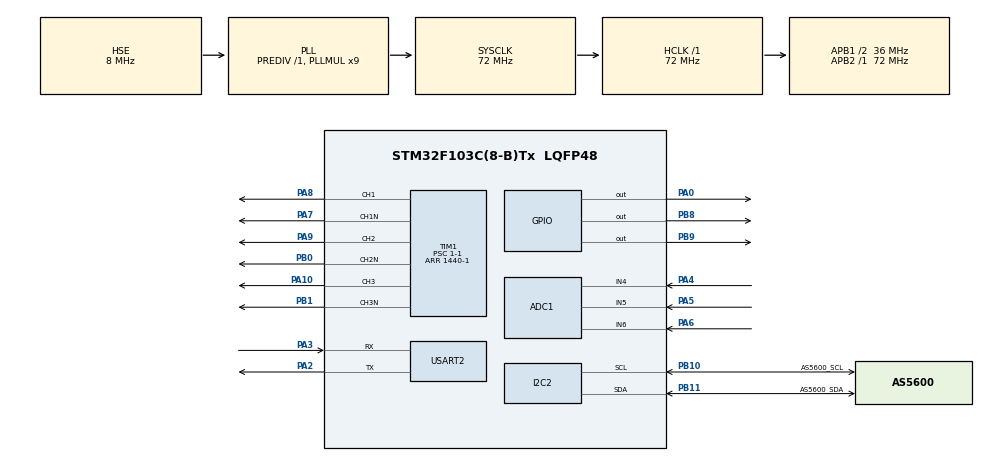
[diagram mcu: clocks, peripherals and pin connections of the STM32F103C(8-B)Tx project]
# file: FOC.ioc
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ADC1.Channel-52\#ChannelInjectedConversion=ADC_CHANNEL_4
ADC1.Channel-53\#ChannelInjectedConversion=ADC_CHANNEL_5
ADC1.Channel-54\#ChannelInjectedConversion=ADC_CHANNEL_6
ADC1.ContinuousConvMode=ENABLE
ADC1.EnableInjectedConversion=ENABLE
ADC1.EnableRegularConversion=DISABLE
ADC1.ExternalTrigInjecConv=ADC_EXTERNALTRIGINJECCONV_T1_CC4
ADC1.InjNumberOfConversion=3
ADC1.InjectedOffset-52\#ChannelInjectedConversion=0
ADC1.InjectedOffset-53\#ChannelInjectedConversion=0
ADC1.InjectedOffset-54\#ChannelInjectedConversion=0
ADC1.InjectedRank-52\#ChannelInjectedConversion=1
ADC1.InjectedRank-53\#ChannelInjectedConversion=2
ADC1.InjectedRank-54\#ChannelInjectedConversion=3
ADC1.SamplingTime-52\#ChannelInjectedConversion=ADC_SAMPLETIME_1CYCLE_5
ADC1.SamplingTime-53\#ChannelInjectedConversion=ADC_SAMPLETIME_1CYCLE_5
ADC1.SamplingTime-54\#ChannelInjectedConversion=ADC_SAMPLETIME_1CYCLE_5
ADC1.master=1
Mcu.Family=STM32F1
Mcu.Name=STM32F103C(8-B)Tx
Mcu.Package=LQFP48
NVIC.ADC1_2_IRQn=true\:1\:0\:true\:false\:true\:true\:true\:true
NVIC.I2C2_ER_IRQn=true\:0\:0\:false\:false\:true\:true\:true\:true
NVIC.I2C2_EV_IRQn=true\:0\:0\:false\:false\:true\:true\:true\:true
NVIC.PriorityGroup=NVIC_PRIORITYGROUP_4
PA0-WKUP.Signal=GPIO_Output
PA10.Signal=S_TIM1_CH3
PA13.Mode=Serial_Wire
PA13.Signal=SYS_JTMS-SWDIO
PA14.Mode=Serial_Wire
PA14.Signal=SYS_JTCK-SWCLK
PA2.Mode=Asynchronous
PA2.Signal=USART2_TX
PA3.Mode=Asynchronous
PA3.Signal=USART2_RX
PA4.Signal=ADCx_IN4
PA5.Signal=ADCx_IN5
PA6.Signal=ADCx_IN6
PA7.Mode=PWM Generation1 CH1 CH1N
PA7.Signal=TIM1_CH1N
PA8.Signal=S_TIM1_CH1
PA9.Signal=S_TIM1_CH2
PB0.Mode=PWM Generation2 CH2 CH2N
PB0.Signal=TIM1_CH2N
PB1.Mode=PWM Generation3 CH3 CH3N
PB1.Signal=TIM1_CH3N
PB10.GPIO_Label=AS5600_SCL
PB10.Mode=I2C
PB10.Signal=I2C2_SCL
PB11.GPIO_Label=AS5600_SDA
PB11.Mode=I2C
PB11.Signal=I2C2_SDA
PB8.GPIO_ModeDefaultOutputPP=GPIO_MODE_OUTPUT_OD
PB8.GPIO_PuPd=GPIO_NOPULL
PB8.Signal=GPIO_Output
PB9.GPIO_ModeDefaultOutputPP=GPIO_MODE_OUTPUT_OD
PB9.GPIO_PuPd=GPIO_NOPULL
PB9.Signal=GPIO_Output
PC14-OSC32_IN.Mode=LSE-External-Oscillator
PC14-OSC32_IN.Signal=RCC_OSC32_IN
PC15-OSC32_OUT.Mode=LSE-External-Oscillator
PC15-OSC32_OUT.Signal=RCC_OSC32_OUT
PD0-OSC_IN.Mode=HSE-External-Oscillator
PD0-OSC_IN.Signal=RCC_OSC_IN
PD1-OSC_OUT.Mode=HSE-External-Oscillator
PD1-OSC_OUT.Signal=RCC_OSC_OUT
ProjectManager.HeapSize=0x200
ProjectManager.StackSize=0x400
ProjectManager.TargetToolchain=MDK-ARM V5.32
RCC.ADCPresc=RCC_ADCPCLK2_DIV6
RCC.AHBFreq_Value=72000000
RCC.APB1CLKDivider=RCC_HCLK_DIV2
RCC.APB1Freq_Value=36000000
RCC.APB1TimFreq_Value=72000000
RCC.APB2Freq_Value=72000000
RCC.APB2TimFreq_Value=72000000
RCC.HCLKFreq_Value=72000000
RCC.PLLMUL=RCC_PLL_MUL9
RCC.PLLSourceVirtual=RCC_PLLSOURCE_HSE
RCC.SYSCLKFreq_VALUE=72000000
RCC.SYSCLKSource=RCC_SYSCLKSOURCE_PLLCLK
RCC.USBFreq_Value=72000000
SH.ADCx_IN4.0=ADC1_IN4,IN4
SH.ADCx_IN5.0=ADC1_IN5,IN5
SH.ADCx_IN6.0=ADC1_IN6,IN6
SH.S_TIM1_CH1.0=TIM1_CH1,PWM Generation1 CH1 CH1N
SH.S_TIM1_CH2.0=TIM1_CH2,PWM Generation2 CH2 CH2N
SH.S_TIM1_CH3.0=TIM1_CH3,PWM Generation3 CH3 CH3N
TIM1.AutoReloadPreload=TIM_AUTORELOAD_PRELOAD_ENABLE
TIM1.AutomaticOutput=TIM_AUTOMATICOUTPUT_ENABLE
TIM1.BreakState=TIM_BREAK_DISABLE
TIM1.Channel-PWM\ Generation1\ CH1\ CH1N=TIM_CHANNEL_1
TIM1.Channel-PWM\ Generation2\ CH2\ CH2N=TIM_CHANNEL_2
TIM1.Channel-PWM\ Generation3\ CH3\ CH3N=TIM_CHANNEL_3
TIM1.Channel-PWM\ Generation4\ No\ Output=TIM_CHANNEL_4
TIM1.CounterMode=TIM_COUNTERMODE_CENTERALIGNED1
TIM1.DeadTime=150
TIM1.LockLevel=TIM_LOCKLEVEL_1
TIM1.OCMode_PWM-PWM\ Generation1\ CH1\ CH1N=TIM_OCMODE_PWM1
TIM1.OCMode_PWM-PWM\ Generation2\ CH2\ CH2N=TIM_OCMODE_PWM1
TIM1.OCMode_PWM-PWM\ Generation3\ CH3\ CH3N=TIM_OCMODE_PWM1
TIM1.OCMode_PWM-PWM\ Generation4\ No\ Output=TIM_OCMODE_PWM2
TIM1.OffStateIDLEMode=TIM_OSSI_ENABLE
TIM1.OffStateRunMode=TIM_OSSR_ENABLE
TIM1.Period=1440-1
TIM1.Prescaler=1-1
TIM1.Pulse-PWM\ Generation1\ CH1\ CH1N=720
TIM1.Pulse-PWM\ Generation2\ CH2\ CH2N=720
TIM1.Pulse-PWM\ Generation3\ CH3\ CH3N=720
TIM1.Pulse-PWM\ Generation4\ No\ Output=720
TIM1.TIM_MasterOutputTrigger=TIM_TRGO_OC4REF
TIM1.TIM_MasterSlaveMode=TIM_MASTERSLAVEMODE_DISABLE
USART2.VirtualMode=VM_ASYNC
VP_TIM1_VS_ClockSourceINT.Mode=Internal
VP_TIM1_VS_no_output4.Mode=PWM Generation4 No Output
board=custom

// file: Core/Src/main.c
/* USER CODE BEGIN Header */
/**
  ******************************************************************************
  * @file           : main.c
  * @brief          : Main program body
  ******************************************************************************
  * @attention
  *
  * Copyright (c) 2025 STMicroelectronics.
  * All rights reserved.
  *
  * This software is licensed under terms that can be found in the LICENSE file
  * in the root directory of this software component.
  * If no LICENSE file comes with this software, it is provided AS-IS.
  *
  ******************************************************************************
  */
/* USER CODE END Header */
#include "main.h"
#include "adc.h"
#include "i2c.h"
#include "tim.h"
#include "usart.h"
#include "gpio.h"

/* USER CODE BEGIN Includes */
#include "AS5600.h"
#include "BLDC_Motor.h"
#include "oled.h"
/* USER CODE END Includes */

void SystemClock_Config(void);

/* USER CODE BEGIN 0 */
MOTOR_T motor;
/* USER CODE END 0 */

int main(void)
{

  /* MCU Configuration--------------------------------------------------------*/

  /* Reset of all peripherals, Initializes the Flash interface and the Systick. */
  HAL_Init();

  /* Configure the system clock */
  SystemClock_Config();

  /* Initialize all configured peripherals */
  MX_GPIO_Init();
  MX_I2C2_Init();
  MX_TIM1_Init();
  MX_USART2_UART_Init();
  MX_ADC1_Init();
  /* USER CODE BEGIN 2 */
//	HAL_TIM_Base_Init(&htim1);
	OLED_Init();
//	OLED_BMP(0);
	OLED_ShowChinese(1, 1, 0);
	OLED_ShowChinese(1, 2, 1);
	OLED_ShowString(1, 5, ": ");
	OLED_ShowChinese(2, 1, 2);
	OLED_ShowChinese(2, 2, 3);
	OLED_ShowString(2, 5, ": ");
	HAL_ADCEx_Calibration_Start(&hadc1);
	Power_MOTOR_ON;
	HAL_TIM_PWM_Start(&htim1, TIM_CHANNEL_1);
	HAL_TIMEx_PWMN_Start(&htim1, TIM_CHANNEL_1);
	HAL_TIM_PWM_Start(&htim1, TIM_CHANNEL_2);
	HAL_TIMEx_PWMN_Start(&htim1, TIM_CHANNEL_2);
	HAL_TIM_PWM_Start(&htim1, TIM_CHANNEL_3);
	HAL_TIMEx_PWMN_Start(&htim1, TIM_CHANNEL_3);
	HAL_TIM_PWM_Start(&htim1, TIM_CHANNEL_4);
	__HAL_TIM_SET_COMPARE(&htim1, TIM_CHANNEL_4, 10);
	__HAL_ADC_ENABLE_IT(&hadc1, ADC_IT_JEOC);
    HAL_ADCEx_InjectedStart_IT(&hadc1);

	Motor_Init(&motor, Pole_Pairs);
  /* USER CODE END 2 */

  /* Infinite loop */
  while (1)
  {

  }
}

void SystemClock_Config(void)
{
  RCC_OscInitTypeDef RCC_OscInitStruct = {0};
  RCC_ClkInitTypeDef RCC_ClkInitStruct = {0};
  RCC_PeriphCLKInitTypeDef PeriphClkInit = {0};

  /** Initializes the RCC Oscillators according to the specified parameters
  * in the RCC_OscInitTypeDef structure.
  */
  RCC_OscInitStruct.OscillatorType = RCC_OSCILLATORTYPE_HSE;
  RCC_OscInitStruct.HSEState = RCC_HSE_ON;
  RCC_OscInitStruct.HSEPredivValue = RCC_HSE_PREDIV_DIV1;
  RCC_OscInitStruct.HSIState = RCC_HSI_ON;
  RCC_OscInitStruct.PLL.PLLState = RCC_PLL_ON;
  RCC_OscInitStruct.PLL.PLLSource = RCC_PLLSOURCE_HSE;
  RCC_OscInitStruct.PLL.PLLMUL = RCC_PLL_MUL9;
  if (HAL_RCC_OscConfig(&RCC_OscInitStruct) != HAL_OK)
  {
    Error_Handler();
  }

  /** Initializes the CPU, AHB and APB buses clocks
  */
  RCC_ClkInitStruct.ClockType = RCC_CLOCKTYPE_HCLK|RCC_CLOCKTYPE_SYSCLK
                              |RCC_CLOCKTYPE_PCLK1|RCC_CLOCKTYPE_PCLK2;
  RCC_ClkInitStruct.SYSCLKSource = RCC_SYSCLKSOURCE_PLLCLK;
  RCC_ClkInitStruct.AHBCLKDivider = RCC_SYSCLK_DIV1;
  RCC_ClkInitStruct.APB1CLKDivider = RCC_HCLK_DIV2;
  RCC_ClkInitStruct.APB2CLKDivider = RCC_HCLK_DIV1;

  if (HAL_RCC_ClockConfig(&RCC_ClkInitStruct, FLASH_LATENCY_2) != HAL_OK)
  {
    Error_Handler();
  }
  PeriphClkInit.PeriphClockSelection = RCC_PERIPHCLK_ADC;
  PeriphClkInit.AdcClockSelection = RCC_ADCPCLK2_DIV6;
  if (HAL_RCCEx_PeriphCLKConfig(&PeriphClkInit) != HAL_OK)
  {
    Error_Handler();
  }
}

void Error_Handler(void)
{
  __disable_irq();
  while (1)
  {
  }
}
